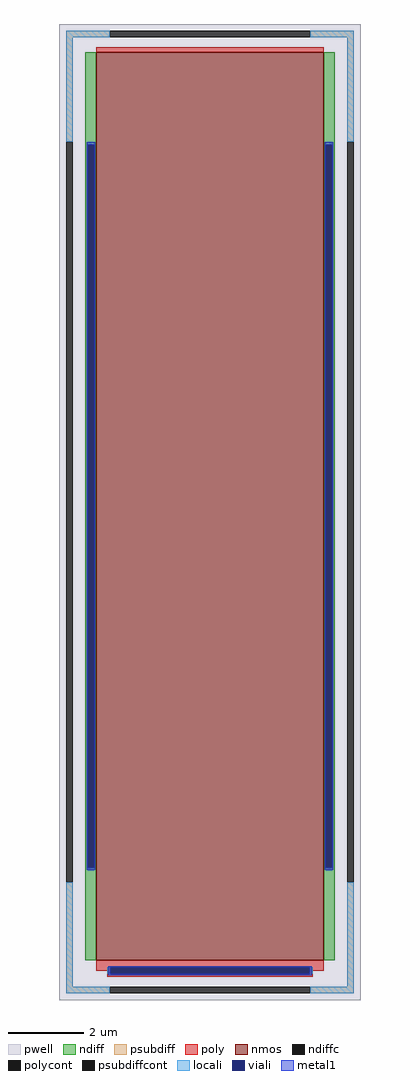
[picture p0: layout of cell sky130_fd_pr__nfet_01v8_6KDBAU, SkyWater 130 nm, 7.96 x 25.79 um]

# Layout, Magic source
magic
tech sky130B
magscale 1 2
<< pwell >>
rect -796 -2579 796 2579
<< nmos >>
rect -600 -2369 600 2431
<< ndiff >>
rect -658 1941 -600 2431
rect -658 -1879 -646 1941
rect -612 -1879 -600 1941
rect -658 -2369 -600 -1879
rect 600 1941 658 2431
rect 600 -1879 612 1941
rect 646 -1879 658 1941
rect 600 -2369 658 -1879
<< ndiffc >>
rect -646 -1879 -612 1941
rect 612 -1879 646 1941
<< psubdiff >>
rect -760 2509 -531 2543
rect 531 2509 760 2543
rect -760 1958 -726 2509
rect -760 -2509 -726 -1958
rect 726 1958 760 2509
rect 726 -2509 760 -1958
rect -760 -2543 -531 -2509
rect 531 -2543 760 -2509
<< psubdiffcont >>
rect -531 2509 531 2543
rect -760 -1958 -726 1958
rect 726 -1958 760 1958
rect -531 -2543 531 -2509
<< poly >>
rect -600 2431 600 2457
rect -600 -2407 600 -2369
rect -600 -2424 -526 -2407
rect -542 -2441 -526 -2424
rect 526 -2424 600 -2407
rect 526 -2441 542 -2424
rect -542 -2457 542 -2441
<< polycont >>
rect -526 -2441 526 -2407
<< locali >>
rect -760 2509 -531 2543
rect 531 2509 760 2543
rect -760 1958 -726 2509
rect 726 1958 760 2509
rect -646 1941 -612 1957
rect -646 -1895 -612 -1879
rect 612 1941 646 1957
rect 612 -1895 646 -1879
rect -760 -2509 -726 -1958
rect -542 -2441 -526 -2407
rect 526 -2441 542 -2407
rect 726 -2509 760 -1958
rect -760 -2543 -531 -2509
rect 531 -2543 760 -2509
<< viali >>
rect -646 -1879 -612 1941
rect 612 -1879 646 1941
rect -526 -2441 526 -2407
<< metal1 >>
rect -652 1941 -606 1953
rect -652 -1879 -646 1941
rect -612 -1879 -606 1941
rect -652 -1891 -606 -1879
rect 606 1941 652 1953
rect 606 -1879 612 1941
rect 646 -1879 652 1941
rect 606 -1891 652 -1879
rect -538 -2407 538 -2401
rect -538 -2441 -526 -2407
rect 526 -2441 538 -2407
rect -538 -2447 538 -2441
<< properties >>
string FIXED_BBOX -743 -2526 743 2526
string gencell sky130_fd_pr__nfet_01v8
string library sky130
string parameters w 24 l 6 m 1 nf 1 diffcov 80 polycov 90 guard 1 glc 1 grc 1 gtc 1 gbc 1 tbcov 80 rlcov 80 topc 0 botc 1 poverlap 0 doverlap 1 lmin 0.15 wmin 0.42 compatible {sky130_fd_pr__nfet_01v8 sky130_fd_pr__nfet_01v8_lvt  sky130_fd_bs_flash__special_sonosfet_star  sky130_fd_pr__nfet_g5v0d10v5 sky130_fd_pr__nfet_05v0_nvt  sky130_fd_pr__nfet_03v3_nvt} full_metal 1 viasrc 80 viadrn 80 viagate 90 viagb 0 viagr 0 viagl 0 viagt 0
<< end >>
